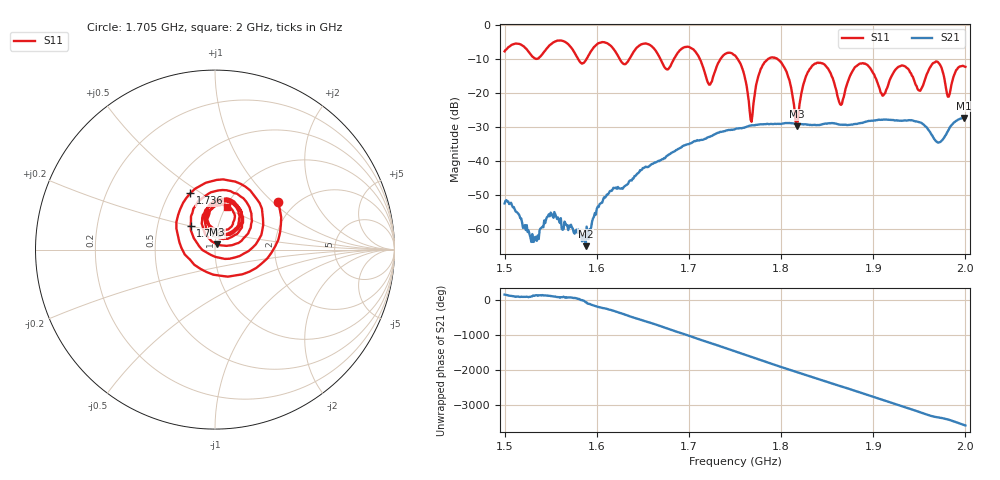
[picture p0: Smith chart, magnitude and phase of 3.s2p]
! NanoVNA-App by SYSJOINT et al v1.1.209 (+OD18)
! Date: 2026-01-21 14:39:36
! Start: 1,5GHz Stop: 2GHz Points: 501
! S-Parameter data: F S11 S21 S12 S22
# Hz S RI R 50
!  Frequency  S11_Real  S11_Imag  S21_Real  S21_Imag  S12_Real  S12_Imag  S22_Real  S22_Imag
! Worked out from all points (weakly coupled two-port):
!   501 points, 1.5 GHz to 2 GHz, reference 50 ohm
!   highest |S21| = -27.26 dB at 1.998 GHz (marker M1); lowest = -64.9 dB at 1.588 GHz (marker M2)
!   lowest |S11| = -29.7 dB at 1.817 GHz (marker M3), VSWR 1.07, Z = 51.2 + j3.09 ohm
!   |S11| at or under -10 dB: 1.712 GHz to 1.734 GHz (22.11 MHz wide, 1.28 % of centre); 1.753 GHz to 1.786 GHz (32.44 MHz wide, 1.83 % of centre); 1.796 GHz to end of sweep (the widest 3 of 6)
!   S12 and S22 are empty: the file has one direction only
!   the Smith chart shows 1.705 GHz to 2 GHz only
!   S11 on the Smith chart (normalised r, x): 1.705 GHz: 1.65, +1.08; 1.736 GHz: 0.63, +0.45; 1.776 GHz: 0.74, +0.20; 2 GHz: 1.01, +0.51
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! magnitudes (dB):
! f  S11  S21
! 1.5 GHz  -7.7  -52.4
! 1.53 GHz  -9.2  -61.4
! 1.552 GHz  -5.2  -56.1
! 1.584 GHz  -11.3  -63.5
! 1.588 GHz  -10.3  -64.9
! 1.667 GHz  -8.8  -39.9
! 1.705 GHz  -7.1  -34.2
! 1.722 GHz  -17.5  -32.8
! 1.736 GHz  -9.3  -31.3
! 1.75 GHz  -8.9  -30.6
! 1.767 GHz  -27.8  -29.5
! 1.776 GHz  -14.4  -29.2
! 1.8 GHz  -10.9  -29.0
! 1.817 GHz  -29.7  -29.1
! 1.834 GHz  -11.8  -29.3
! 1.864 GHz  -23.2  -29.2
! 1.886 GHz  -11.2  -28.8
! 1.917 GHz  -16.8  -27.8
! 1.969 GHz  -10.7  -34.3
! 1.982 GHz  -21.0  -30.7
! 1.998 GHz  -12.0  -27.3
! 2 GHz  -12.2  -27.3
